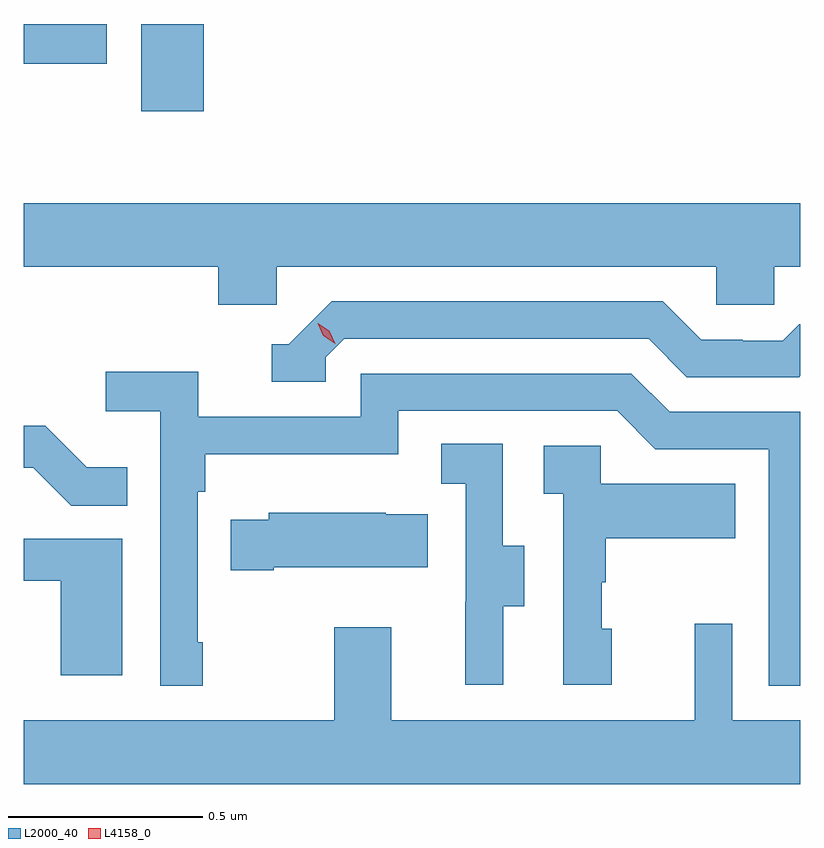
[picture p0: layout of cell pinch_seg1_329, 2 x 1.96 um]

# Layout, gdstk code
import gdstk
lib = gdstk.Library(unit=1e-6, precision=1e-09)
def R(c, l, rs):  # rectangles x0, y0, x1, y1
    for r in rs: c.add(gdstk.rectangle(r[:2], r[2:], *l))
def P(c, l, *ps):  # polygons
    for p in ps: c.add(gdstk.Polygon(p, *l))
L2000_40 = (2000, 40)
L4158_0 = (4158, 0)

pinch_seg1_329 = lib.new_cell('pinch_seg1_329')
R(pinch_seg1_329, L2000_40, [(994.943,544.14,995.104,544.365), (994.64,544.263,994.854,544.365)])
P(pinch_seg1_329, L2000_40, [(995.292,543.74),(996.423,543.74),(996.423,543.642),(996.573,543.642),(996.573,543.74),(996.64,543.74),(996.64,543.904),(994.64,543.904),(994.64,543.74),(995.141,543.74),(995.141,543.642),(995.292,543.642)],
  [(995.418,543.507),(995.466,543.555),(996.249,543.555),(996.348,543.456),(996.637,543.456),(996.64,543.459),(996.64,543.592),(996.637,543.592),(996.595,543.549),(996.492,543.549),(996.492,543.552),(996.385,543.552),(996.286,543.651),(995.433,543.651),(995.322,543.54),(995.279,543.54),(995.279,543.444),(995.418,543.444)],
  [(995.101,542.773),(995.088,542.773),(995.088,543.161),(995.108,543.161),(995.108,543.257),(995.604,543.257),(995.604,543.369),(996.168,543.369),(996.267,543.27),(996.558,543.27),(996.558,542.661),(996.64,542.661),(996.64,543.366),(996.304,543.366),(996.205,543.465),(995.508,543.465),(995.508,543.354),(995.09,543.354),(995.09,543.47),(994.851,543.47),(994.851,543.368),(994.992,543.368),(994.992,542.661),(995.101,542.661)],
  [(994.907,543.223),(994.803,543.223),(994.696,543.33),(994.64,543.33),(994.64,543.222),(994.665,543.222),(994.763,543.124),(994.907,543.124)],
  [(995.875,542.866),(995.929,542.866),(995.929,543.021),(995.874,543.021),(995.874,543.284),(995.715,543.284),(995.715,543.181),(995.778,543.181),(995.778,542.877),(995.777,542.877),(995.777,542.664),(995.875,542.664)],
  [(996.154,542.808),(996.129,542.808),(996.129,542.927),(996.139,542.927),(996.139,543.041),(996.473,543.041),(996.473,543.181),(996.126,543.181),(996.126,543.279),(995.979,543.279),(995.979,543.155),(996.03,543.155),(996.03,542.664),(996.154,542.664)],
  [(995.284,542.966),(995.681,542.966),(995.681,543.103),(995.573,543.103),(995.573,543.106),(995.271,543.106),(995.271,543.088),(995.173,543.088),(995.173,542.959),(995.284,542.959)],
  [(994.894,543.039),(994.64,543.039),(994.64,542.931),(994.736,542.931),(994.736,542.688),(994.894,542.688)],
  [(996.64,542.572),(996.465,542.572),(996.465,542.821),(996.368,542.821),(996.368,542.572),(995.587,542.572),(995.587,542.812),(995.44,542.812),(995.44,542.572),(994.64,542.572),(994.64,542.408),(996.64,542.408)])
P(pinch_seg1_329, L4158_0, [(995.443,543.542),(995.412,543.562),(995.397,543.594),(995.397,543.595),(995.397,543.595),(995.427,543.575),(995.443,543.542),(995.443,543.542)])

lib.write_gds('pinch_seg1_329.gds')
